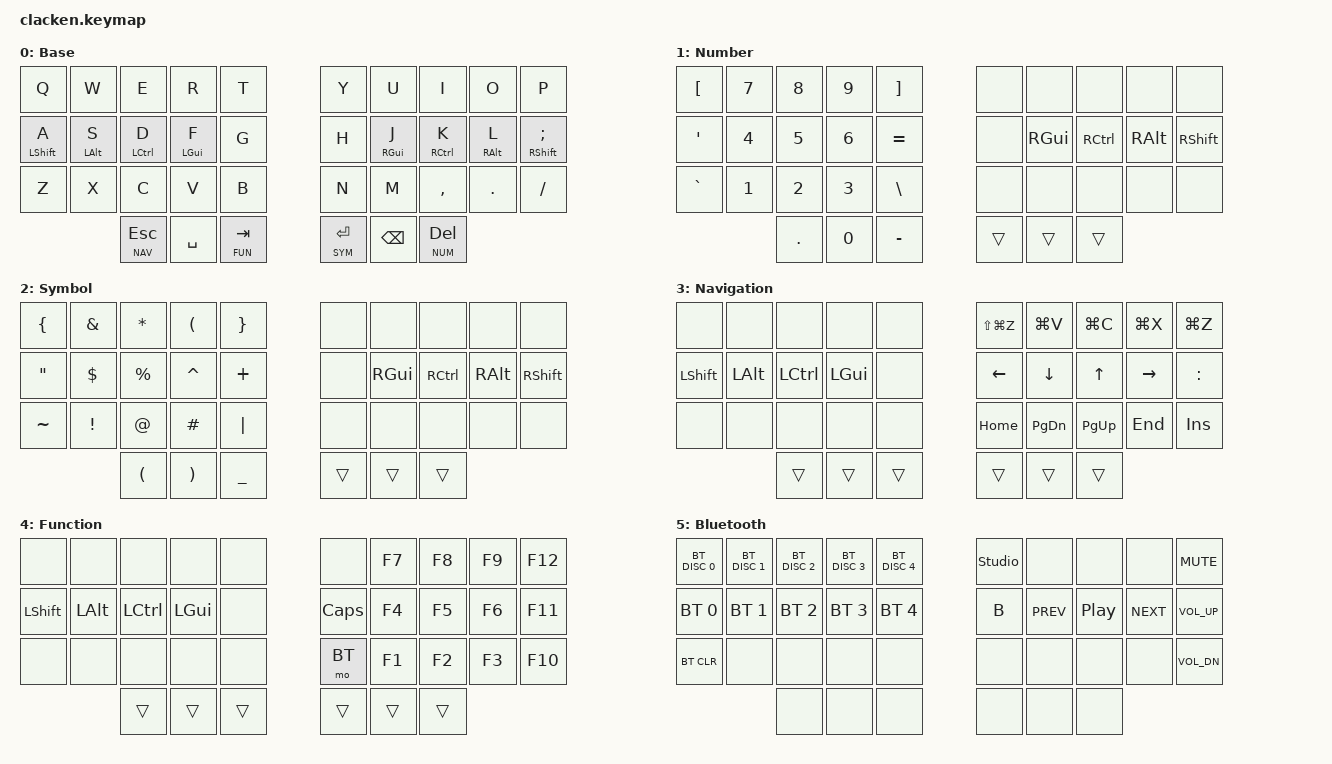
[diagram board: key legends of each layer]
#include <behaviors.dtsi>
#include <dt-bindings/zmk/keys.h>
#include <dt-bindings/zmk/bt.h>

#define DEFAULT 0
#define NUM 1
#define SYM 2
#define NAV 3
#define FUN 4
#define BT 5

/ {

    behaviors {
        bhm: balanced_homerow_mods {
            compatible = "zmk,behavior-hold-tap";
            #binding-cells = <2>;
            tapping-term-ms = <200>;
            quick-tap-ms = <0>;
            require-prior-idle-ms = <0>;
            flavor = "balanced";
            bindings = <&kp>, <&kp>;
        };
    };

    keymap0: keymap0 {
        compatible = "zmk,keymap";

        default_layer { // Layer 0
            display-name = "Base";
            bindings = <
              &kp Q     	  &kp W       &kp E         &kp R       &kp T       &kp Y       &kp U       &kp I         &kp O       &kp P
              &bhm LSHIFT A &bhm LALT S &bhm LCTRL D  &bhm LGUI F &kp G	      &kp H     	&bhm RGUI J	&bhm RCTRL K  &bhm RALT L &bhm RSHIFT SEMI
              &kp Z         &kp X       &kp C         &kp V       &kp B       &kp N       &kp M       &kp COMMA     &kp DOT     &kp FSLH
                                        &lt NAV ESC   &kp SPACE   &lt FUN TAB &lt SYM RET &kp BSPC    &lt NUM DEL
            >;
        };

        number {
            display-name = "Number";
            bindings = <
              &kp LBKT   &kp N7 &kp N8  &kp N9  &kp RBKT  &none   &none     &none     &none     &none
              &kp SQT    &kp N4 &kp N5  &kp N6  &kp EQUAL &none   &kp RGUI  &kp RCTRL &kp RALT  &kp RSHIFT
              &kp GRAVE  &kp N1 &kp N2  &kp N3  &kp BSLH  &none   &none     &none     &none     &none
                                &kp DOT &kp N0  &kp MINUS &trans  &trans    &trans
            >;
        };

        symbol {
            display-name = "Symbol";
            bindings = <
              &kp LBRC   &kp AMPS &kp STAR  &kp LPAR  &kp RBRC  &none   &none     &none      &none     &none
              &kp DQT    &kp DLLR &kp PRCNT &kp CARET &kp PLUS  &none   &kp RGUI  &kp RCTRL  &kp RALT  &kp RSHIFT
              &kp TILDE  &kp EXCL &kp AT    &kp POUND &kp PIPE  &none   &none     &none      &none     &none
                                  &kp LPAR  &kp RPAR  &kp UNDER &trans  &trans    &trans
            >;
        };

        navigation {
            display-name = "Navigation";
            bindings = <
              &none       &none     &none     &none     &none   &kp LS(LG(Z)) &kp LG(V) &kp LG(C) &kp LG(X) &kp LG(Z)
              &kp LSHIFT  &kp LALT  &kp LCTRL &kp LGUI  &none   &kp LEFT      &kp DOWN  &kp UP    &kp RIGHT &kp COLON
              &none       &none     &none     &none     &none   &kp HOME      &kp PG_DN &kp PG_UP &kp END   &kp INS
                                    &trans    &trans    &trans  &trans        &trans    &trans
            >;
        };

        function {
            display-name = "Function";
            bindings = <
              &none       &none     &none     &none     &none   &none     &kp F7  &kp F8  &kp F9  &kp F12
              &kp LSHIFT  &kp LALT  &kp LCTRL &kp LGUI  &none   &kp CAPS  &kp F4  &kp F5  &kp F6  &kp F11
              &none       &none     &none     &none     &none   &mo BT    &kp F1  &kp F2  &kp F3  &kp F10
                                    &trans    &trans    &trans  &trans    &trans  &trans
            >;
        };

        bluetooth {
            display-name = "Bluetooth";
            bindings = <
            &bt BT_DISC 0   &bt BT_DISC 1   &bt BT_DISC 2   &bt BT_DISC 3   &bt BT_DISC 4       &studio_unlock  &none       &none       &none       &kp C_MUTE
            &bt BT_SEL 0    &bt BT_SEL 1    &bt BT_SEL 2    &bt BT_SEL 3    &bt BT_SEL 4        &kp B	          &kp K_PREV  &kp C_PP    &kp C_NEXT  &kp C_VOL_UP
            &bt BT_CLR      &none           &none           &none           &none               &none           &none       &none       &none       &kp C_VOL_DN
                                            &none           &none           &none               &none           &none       &none
            >;
        };

        extra5 {
            status = "reserved";
        };

        extra6 {
            status = "reserved";
        };

        extra7 {
            status = "reserved";
        };
    };
};
